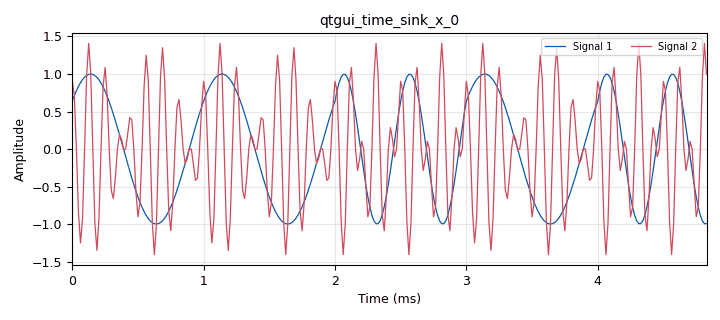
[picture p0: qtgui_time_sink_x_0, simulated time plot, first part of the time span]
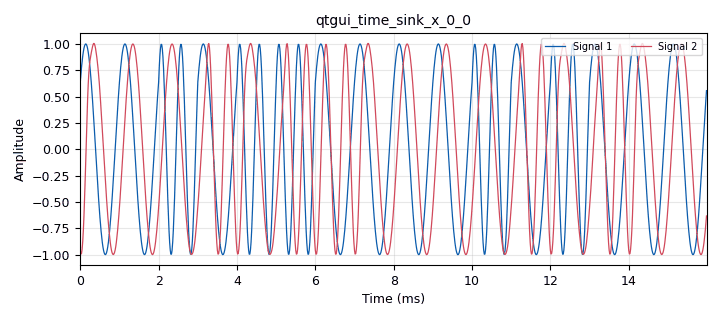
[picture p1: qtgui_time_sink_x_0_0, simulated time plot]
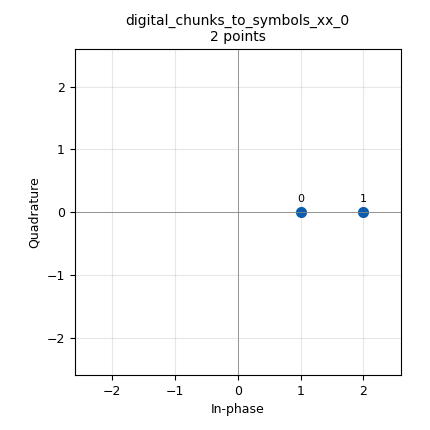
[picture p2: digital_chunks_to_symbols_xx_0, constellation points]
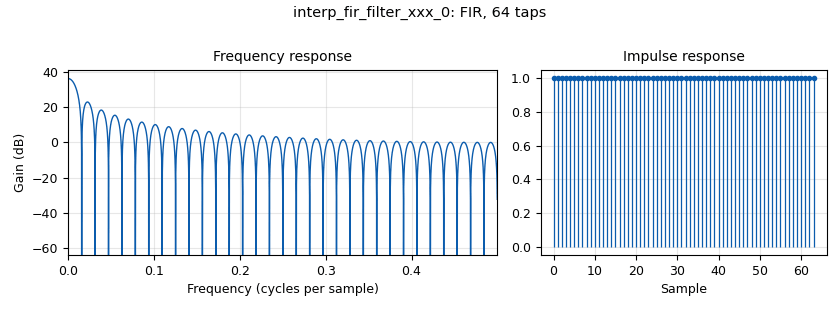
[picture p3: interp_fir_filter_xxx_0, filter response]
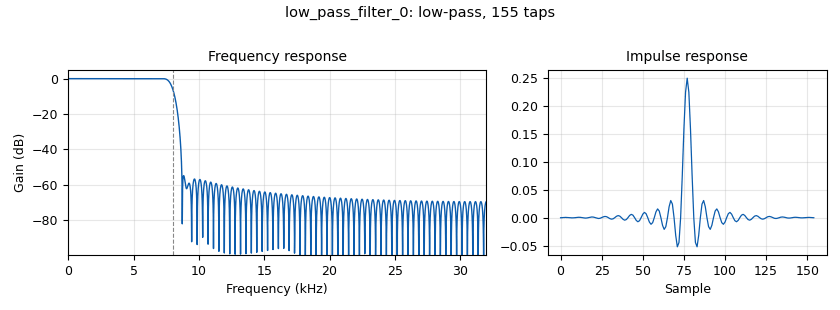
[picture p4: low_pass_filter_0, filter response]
options:
  parameters:
    author: YASH
    generate_options: qt_gui
    id: fsk_main
    output_language: python
    title: Not titled yet
  states: {}

blocks:
- name: delay
  id: variable_qtgui_range
  parameters:
    start: '0'
    step: '1'
    stop: '100'
    value: '0'
  states: {}
- name: fc
  id: variable
  parameters:
    value: '8000'
  states: {}
- name: samp_rate
  id: variable
  parameters:
    value: '64000'
  states: {}
- name: analog_random_source_x_0
  id: analog_random_source_x
  parameters:
    max: '2'
    min: '0'
    num_samps: '1000'
    repeat: 'True'
    type: int
  states: {}
- name: analog_sig_source_x_0
  id: analog_sig_source_x
  parameters:
    amp: '1.414'
    freq: fc
    offset: '0'
    phase: '0'
    samp_rate: samp_rate
    type: float
    waveform: analog.GR_COS_WAVE
  states: {}
- name: analog_sig_source_x_0_0
  id: analog_sig_source_x
  parameters:
    amp: '1.414'
    freq: fc
    offset: '0'
    phase: '0'
    samp_rate: samp_rate
    type: float
    waveform: analog.GR_COS_WAVE
  states: {}
- name: blocks_delay_0
  id: blocks_delay
  parameters:
    delay: delay
    type: float
  states: {}
- name: blocks_multiply_xx_0
  id: blocks_multiply_xx
  parameters:
    type: float
  states: {}
- name: blocks_multiply_xx_0_0
  id: blocks_multiply_xx
  parameters:
    type: float
  states: {}
- name: blocks_throttle2_0
  id: blocks_throttle2
  parameters:
    samples_per_second: samp_rate
    type: float
  states: {}
- name: blocks_vco_f_0
  id: blocks_vco_f
  parameters:
    amplitude: '1'
    samp_rate: samp_rate
    sensitivity: 6.283e3
  states: {}
- name: digital_chunks_to_symbols_xx_0
  id: digital_chunks_to_symbols_xx
  parameters:
    dimension: '1'
    in_type: int
    out_type: float
    symbol_table: '[1, 2]'
  states: {}
- name: import_0
  id: import
  parameters:
    imports: import numpy as np
  states: {}
- name: interp_fir_filter_xxx_0
  id: interp_fir_filter_xxx
  parameters:
    interp: samp_rate // 1000
    taps: np.ones(samp_rate // 1000)
    type: fff
  states: {}
- name: low_pass_filter_0
  id: low_pass_filter
  parameters:
    cutoff_freq: fc
    gain: '1'
    interp: '1'
    samp_rate: samp_rate
    type: interp_fir_filter_fff
    width: '1000'
    win: window.WIN_HAMMING
  states: {}
- name: qtgui_time_sink_x_0
  id: qtgui_time_sink_x
  parameters:
    autoscale: 'True'
    nconnections: '2'
    size: '1024'
    srate: samp_rate
    type: float
  states: {}
- name: qtgui_time_sink_x_0_0
  id: qtgui_time_sink_x
  parameters:
    autoscale: 'True'
    nconnections: '2'
    size: '1024'
    srate: samp_rate
    type: float
  states: {}

connections:
- [analog_random_source_x_0, '0', digital_chunks_to_symbols_xx_0, '0']
- [analog_sig_source_x_0, '0', blocks_multiply_xx_0, '1']
- [analog_sig_source_x_0_0, '0', blocks_multiply_xx_0_0, '1']
- [blocks_delay_0, '0', qtgui_time_sink_x_0_0, '1']
- [blocks_multiply_xx_0, '0', blocks_multiply_xx_0_0, '0']
- [blocks_multiply_xx_0, '0', qtgui_time_sink_x_0, '1']
- [blocks_multiply_xx_0_0, '0', low_pass_filter_0, '0']
- [blocks_throttle2_0, '0', blocks_vco_f_0, '0']
- [blocks_vco_f_0, '0', blocks_multiply_xx_0, '0']
- [blocks_vco_f_0, '0', qtgui_time_sink_x_0, '0']
- [blocks_vco_f_0, '0', qtgui_time_sink_x_0_0, '0']
- [digital_chunks_to_symbols_xx_0, '0', interp_fir_filter_xxx_0, '0']
- [interp_fir_filter_xxx_0, '0', blocks_throttle2_0, '0']
- [low_pass_filter_0, '0', blocks_delay_0, '0']

metadata:
  file_format: 1
  grc_version: 3.10.7.0
